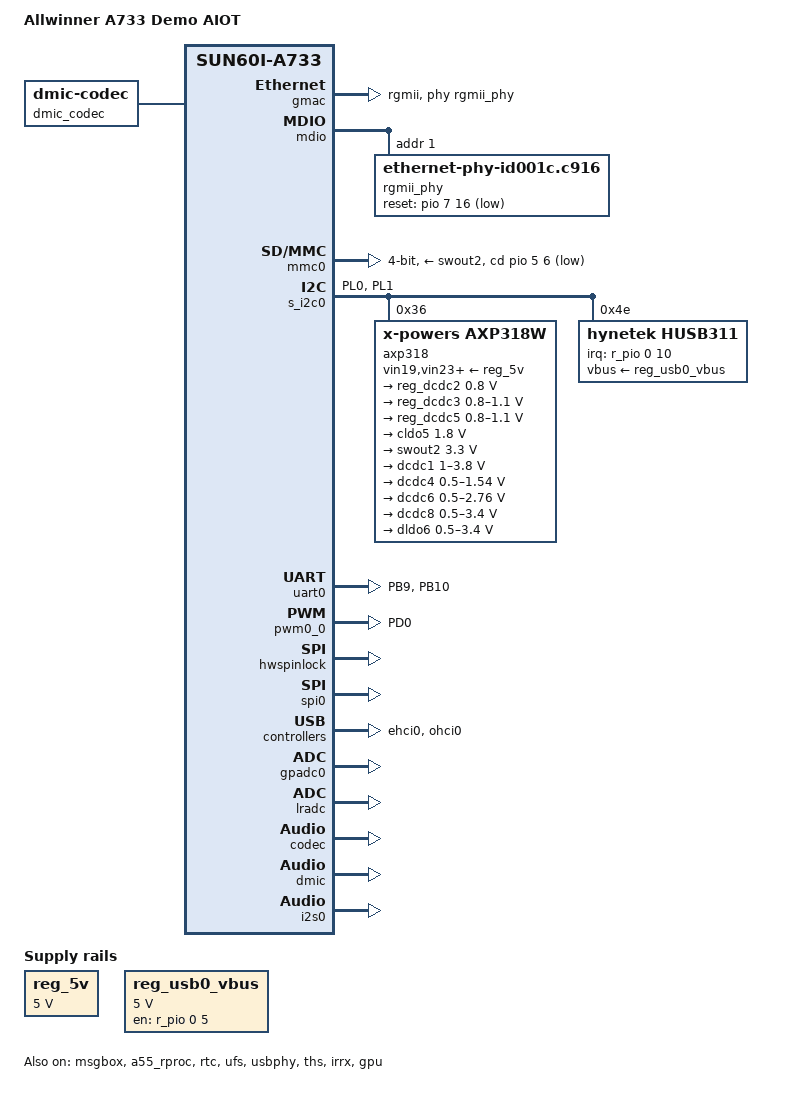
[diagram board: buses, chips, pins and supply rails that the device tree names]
#include "sun60i-a733.dtsi"
#include <dt-bindings/gpio/gpio.h>
#include <dt-bindings/interrupt-controller/irq.h>
#include <dt-bindings/usb/pd.h>

/ {
	compatible = "allwinner,a733-demo-aiot", "allwinner,a733";
	model = "Allwinner A733 Demo AIOT";

	aliases {
		serial0 = &uart0;
		pwm0 = &pwm0;
		spi0 = &spi0;
	};

	chosen {
		bootargs = "earlycon regulator_ignore_unused";
		stdout-path = "serial0:115200n8";
	};

	reg_5v: regulator-5v0 {
		compatible = "regulator-fixed";
		regulator-name = "VCC5V0_SYS";
		regulator-min-microvolt = <5000000>;
		regulator-max-microvolt = <5000000>;
	};

	/* Type-C VBUS switch (Tina: PL5) */
	reg_usb0_vbus: usb0-vbus {
		compatible = "regulator-fixed";
		regulator-name = "usb0-vbus";
		regulator-min-microvolt = <5000000>;
		regulator-max-microvolt = <5000000>;
		gpio = <&r_pio 0 5 GPIO_ACTIVE_HIGH>; /* PL5 */
		enable-active-high;
	};

	sound_i2s0: sound {
		compatible = "simple-audio-card";
		simple-audio-card,name = "sunxi-i2s0";
		simple-audio-card,format = "i2s";
		simple-audio-card,bitclock-master = <&sound_i2s0_cpu>;
		simple-audio-card,frame-master = <&sound_i2s0_cpu>;
		simple-audio-card,mclk-fs = <256>;

		sound_i2s0_cpu: simple-audio-card,cpu {
			sound-dai = <&i2s0>;
		};

		simple-audio-card,codec {
			sound-dai = <&codec>;
		};
	};

	dmic_codec: dmic-codec {
		compatible = "dmic-codec";
		#sound-dai-cells = <0>;
		num-channels = <2>;
	};

	sound_dmic: sound-dmic {
		compatible = "simple-audio-card";
		simple-audio-card,name = "sunxi-dmic";

		simple-audio-card,cpu {
			sound-dai = <&dmic>;
		};

		simple-audio-card,codec {
			sound-dai = <&dmic_codec>;
		};
	};

	/*
	 * AMP / remoteproc / rpmsg shared memory (layout aligned with Tina
	 * sun60iw2 / a537 demo_aiot). Keep these regions below DRAM end.
	 */
	reserved-memory {
		#address-cells = <2>;
		#size-cells = <2>;
		ranges;

		/*
		 * Name must be "vdev%dbuffer".
		 * Size >= RPMSG_BUF_SIZE * (vring buffers) * 2
		 *       = 512 * N * 2
		 */
		a55_vdev0buffer: vdev0buffer@4ae00000 {
			compatible = "shared-dma-pool";
			reg = <0x0 0x4ae00000 0x0 0x40000>;
			no-map;
		};

		/*
		 * Name must be "vdev%dvring%d".
		 * See virtio_ring layout in include/uapi/linux/virtio_ring.h.
		 */
		a55_vdev0vring0: vdev0vring0@4ae40000 {
			reg = <0x0 0x4ae40000 0x0 0x2000>;
			no-map;
		};

		a55_vdev0vring1: vdev0vring1@4ae42000 {
			reg = <0x0 0x4ae42000 0x0 0x2000>;
			no-map;
		};

		/* Loader places AMP ELF here (boot0/U-Boot or kernel mem-fw). */
		a55_mem_fw: a55_mem_fw@50000000 {
			reg = <0x0 0x50000000 0x0 0x00100000>;
		};

		/* Isolated AMP DRAM (entry / runtime). */
		a55_reserved: a55_ddr@51000000 {
			reg = <0x0 0x51000000 0x0 0x00a00000>;
			no-map;
		};
	};

	/* Property bag for sunxi_rproc_arm_boot (cpu-id / entry / load). */
	sunxi_amp: sunxi-amp {
		compatible = "sunxi,amp";
		status = "okay";
		amp-count = <1>;

		amp0: amp0 {
			/* cpu7 @ MPIDR 0x700 (A76) */
			cpu-id = <0x700>;
			entry-addr = <0x51000000>;
			load-addr = <0x50000000>;
			arch = <1>; /* 0: arm, 1: arm64 */
			image = "amp-arm";
			boot-stage = "kernel";
		};
	};
};

&gmac {
	assigned-clocks = <&ccu CLK_GMAC0_PHY>;
	assigned-clock-rates = <25000000>;
	tx-internal-delay-ps = <1000>;
	rx-internal-delay-ps = <2000>;
	phy-mode = "rgmii";
	phy-handle = <&rgmii_phy>;
	status = "okay";
};

&mdio {
	status = "okay";

	rgmii_phy: phy@1 {
		compatible = "ethernet-phy-id001c.c916",
			     "ethernet-phy-ieee802.3-c22";
		reg = <1>;
		assigned-clocks = <&ccu CLK_GMAC0_PHY>;
		assigned-clock-rates = <25000000>;
		clocks = <&ccu CLK_GMAC0_PHY>;
		reset-gpios = <&pio 7 16 GPIO_ACTIVE_LOW>;
		reset-assert-us = <10000>;
		reset-deassert-us = <30000>;
	};
};

&mmc0 {
	bus-width = <4>;
	disable-wp;
	/* Poll: first CD IRQ is easy to miss next to UFS; card is the rootfs. */
	broken-cd;
	cd-gpios = <&pio 5 6 GPIO_ACTIVE_LOW>;
	/* DC1SW2 gates 3.3V card power; I/O is also 3.3V (not CLDO5 1.8V). */
	vmmc-supply = <&swout2>;
	vqmmc-supply = <&swout2>;
	status = "okay";
};

&pio {
	/* PF = SD, PB = UART0, PG = Wi-Fi (DCDC1 3.3V) */
	vcc-pf-supply = <&swout2>;
	vcc-pb-supply = <&dcdc1>;
	vcc-pg-supply = <&dcdc1>;

	uart0_pins: uart0_pins {
		pins = "PB9", "PB10";
		function = "uart0";
		allwinner,pinmux = <2>;
		drive-strength = <10>;
	};

	pwm0_0_active: pwm0_0_active {
		pins = "PD0";
		function = "pwm0_0";
		allwinner,pinmux = <7>;
		drive-strength = <10>;
		bias-disable;
	};

	pwm0_0_sleep: pwm0_0_sleep {
		pins = "PD0";
		function = "gpio_in";
		allwinner,pinmux = <0>;
		bias-pull-down;
	};
};

&r_pio {
	s_i2c0_pins: s_i2c0_pins {
		pins = "PL0", "PL1";
		function = "s_twi0";
		allwinner,pinmux = <2>;
		drive-strength = <10>;
	};
};

&s_i2c0 {
	pinctrl-0 = <&s_i2c0_pins>;
	pinctrl-names = "default";
	status = "okay";

	axp318: pmic@36 {
		compatible = "x-powers,axp318w";
		reg = <0x36>;
		interrupt-parent = <&nmi_intc>;
		interrupts = <0 IRQ_TYPE_LEVEL_LOW>;
		#interrupt-cells = <1>;
		interrupt-controller;
		wakeup-source;

		vin19-supply = <&reg_5v>;
		vin23-supply = <&reg_5v>;
		vin45-supply = <&reg_5v>;
		vin678-supply = <&reg_5v>;
		dldoin-supply = <&reg_5v>;
		cldoin-supply = <&reg_5v>;
		swin-supply = <&reg_5v>;

		regulators {
			/* System fabric */
			reg_dcdc2: dcdc2 {
				regulator-name = "vdd-sys";
				regulator-min-microvolt = <800000>;
				regulator-max-microvolt = <800000>;
				regulator-boot-on;
				regulator-always-on;
			};

			/* A76 / big cluster */
			reg_dcdc3: dcdc3 {
				regulator-name = "vdd-cpub";
				regulator-min-microvolt = <800000>;
				regulator-max-microvolt = <1100000>;
				regulator-ramp-delay = <25000>;
				regulator-boot-on;
				regulator-always-on;
			};

			/* A55 / little cluster */
			reg_dcdc5: dcdc5 {
				regulator-name = "vdd-cpul";
				regulator-min-microvolt = <800000>;
				regulator-max-microvolt = <1100000>;
				regulator-ramp-delay = <25000>;
				regulator-boot-on;
				regulator-always-on;
			};

			/* IO / MMC I/O */
			cldo5: cldo5 {
				regulator-name = "cldo5";
				regulator-min-microvolt = <1800000>;
				regulator-max-microvolt = <1800000>;
				regulator-boot-on;
				regulator-always-on;
			};
			/*
			 * DC1SW2: load switch on DCDC1. Driver reports a
			 * fixed 3.3V so MMC can build an OCR mask; enable
			 * only (no programmable vsel).
			 */
			swout2: swout2 {
				regulator-name = "swout2";
				regulator-min-microvolt = <3300000>;
				regulator-max-microvolt = <3300000>;
				regulator-boot-on;
				regulator-always-on;
			};

			/* Always-on rails kept enabled by firmware / board */
			dcdc1: dcdc1 {
				regulator-name = "dcdc1";
				regulator-min-microvolt = <1000000>;
				regulator-max-microvolt = <3800000>;
				regulator-boot-on;
				regulator-always-on;
			};

			dcdc4: dcdc4 {
				regulator-name = "dcdc4";
				regulator-min-microvolt = <500000>;
				regulator-max-microvolt = <1540000>;
				regulator-boot-on;
				regulator-always-on;
			};

			dcdc6: dcdc6 {
				regulator-name = "dcdc6";
				regulator-min-microvolt = <500000>;
				regulator-max-microvolt = <2760000>;
				regulator-boot-on;
				regulator-always-on;
			};

			dcdc8: dcdc8 {
				regulator-name = "dcdc8";
				regulator-min-microvolt = <500000>;
				regulator-max-microvolt = <3400000>;
				regulator-boot-on;
				regulator-always-on;
			};

			dldo6: dldo6 {
				regulator-name = "dldo6";
				regulator-min-microvolt = <500000>;
				regulator-max-microvolt = <3400000>;
				regulator-boot-on;
				regulator-always-on;
			};
		};
	};

	/*
	 * Hynetek HUSB311 Type-C / PD controller (RT1711H-compatible).
	 * Tina board: s_twi0 @0x4e, IRQ on PL10, VBUS on PL5.
	 * DP altmode / USB role-switch wiring deferred until USBDP PHY is ported.
	 */
	husb311: typec@4e {
		compatible = "hynetek,husb311", "richtek,rt1711h";
		reg = <0x4e>;
		interrupt-parent = <&r_pio>;
		interrupts = <0 10 IRQ_TYPE_LEVEL_LOW>; /* PL10 */
		vbus-supply = <&reg_usb0_vbus>;
		wakeup-source;
		status = "okay";

		connector {
			compatible = "usb-c-connector";
			label = "USB-C";
			data-role = "dual";
			power-role = "dual";
			try-power-role = "sink";
			op-sink-microwatt = <1000000>;
			source-pdos =
				<PDO_FIXED(5000, 500,
					   PDO_FIXED_DUAL_ROLE | PDO_FIXED_DATA_SWAP)>;
			sink-pdos =
				<PDO_FIXED(5000, 500,
					   PDO_FIXED_DUAL_ROLE | PDO_FIXED_DATA_SWAP)
				 PDO_VAR(5000, 5000, 2000)>;
		};
	};
};

/* Little cluster (A55): AXP318 DCDC5 */
&cpu0 {
	cpu-supply = <&reg_dcdc5>;
};

&cpu1 {
	cpu-supply = <&reg_dcdc5>;
};

&cpu2 {
	cpu-supply = <&reg_dcdc5>;
};

&cpu3 {
	cpu-supply = <&reg_dcdc5>;
};

&cpu4 {
	cpu-supply = <&reg_dcdc5>;
};

&cpu5 {
	cpu-supply = <&reg_dcdc5>;
};

/* Big cluster (A76): AXP318 DCDC3 */
&cpu6 {
	cpu-supply = <&reg_dcdc3>;
};

&cpu7 {
	cpu-supply = <&reg_dcdc3>;
};

&uart0 {
	pinctrl-names = "default";
	pinctrl-0 = <&uart0_pins>;
	status = "okay";
};

&pwm0_0 {
	pinctrl-0 = <&pwm0_0_active>;
    pinctrl-1 = <&pwm0_0_sleep>;
    status = "okay";
};

&hwspinlock {
	status = "okay";
};

/*
 * Hardware MSGBOX (ARM local_id=0 <-> CPUS).
 * Channel index = local_n * channels_max + P; channels 0..3 are ARM->CPUS.
 */
&msgbox {
	status = "okay";
};

/*
 * Isolated AMP remoteproc on cpu7 + rpmsg virtio, kicked via HW msgbox.
 * Start manually via sysfs when firmware is ready:
 *   echo start > /sys/class/remoteproc/remoteproc0/state
 * Add "auto-boot;" below once bootloader/kernel mem-fw path is verified.
 */
&a55_rproc {
	firmware-name = "amp_rproc";
	memory-region = <&a55_vdev0buffer>, <&a55_vdev0vring0>,
			<&a55_vdev0vring1>, <&a55_reserved>;
	boot-amp = <&amp0>;
	fw-region = <&a55_mem_fw>;
	mboxes = <&msgbox 0>;
	mbox-names = "arm-kick";
	core-id = <7>;
	memory-mappings =
		/* da          len          pa */
		< 0x40000000  0x40000000  0x40000000 >;
	status = "okay";
};

&spi0 {
    status = "okay";
};

&rtc {
    status = "okay";
};

&ufs {
	status = "okay";
	/* force-auto-pll-cal; */
};

/*
 * Bind USB to IOMMU master 0 with translation enabled (cell1 = 1).
 */
&mmu_aw {
	status = "okay";

	usb_iommu {
		iommu-master;
		id = <0>;
	};

	dummy04 {
		iommu-master;
		id = <4>;
		skip;
	};

	dummy05 {
		iommu-master;
		id = <5>;
		skip;
	};
};

&usbphy {
	status = "okay";
};

&ehci0 {
	status = "okay";
	iommus = <&mmu_aw 0 1>;
};

&ohci0 {
	status = "okay";
	iommus = <&mmu_aw 0 1>;
};

&gpadc0 {
	status = "okay";
};

&lradc {
	status = "okay";
	key_debounce;
	debounce_value = <50>;
	key_cnt = <1>;
	key0 = <500 116>; /* voltage(mV), KEY_POWER — adjust per schematic */
	filter-cnt = <3>;
};

&ths {
	status = "okay";
};

&irrx {
	status = "okay";
	ir_protocol_used = <0>; /* NEC */
	linux,rc-map-name = "rc-map-sunxi";
};

&codec {
	status = "okay";
};

&dmic {
	pinctrl-names = "default";
	pinctrl-0 = <&dmic_pins>;
	status = "okay";
};

&i2s0 {
	pinctrl-names = "default";
	pinctrl-0 = <&i2s0_mclk_pin &i2s0_bclk_pin &i2s0_lrck_pin
		     &i2s0_dout0_pin &i2s0_din0_pin>;
	status = "okay";
};

&gpu {
	status = "okay";
};
